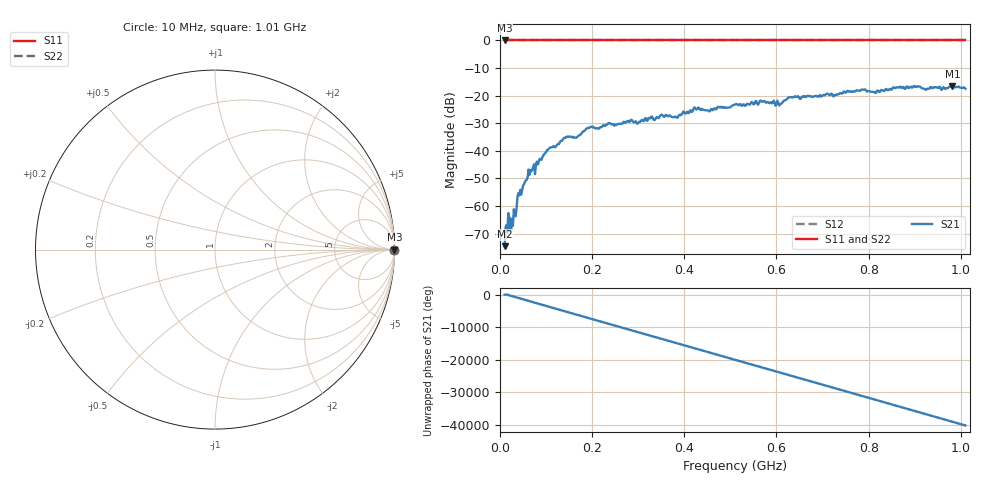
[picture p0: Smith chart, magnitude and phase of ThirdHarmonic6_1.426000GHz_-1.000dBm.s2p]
! 8/16/2025 4:25:29 PM
! C:\ANRITSUVNA\TEMP\TEMP.S2P
! CHANNEL.1
! TR.MEASUREMENT
! RAW.DATA
! RF.CORRECTION.OFF
! AVERAGING.OFF
! IF.BANDWIDTH: 5KHZ
! SWEEPTYPE:  FREQ.SWEEP(Linear)
! Reference Plane Port Info
! PORT:  PORT1  PORT2
! DISTANCE:  0  m  0  m
! TIME:  0  s  0  s
! PHASE.OFFSET:  0  deg.  0  deg.
! LOSS:  0  dB  0  dB
! REF.LOSS:  0  dB  0  dB
! REF.FREQ:  0  Hz  0  Hz
! Power Info
! POWER:  -20  dBm  -20  dBm
! EFF.POWER:  -20  dBm  -20  dBm
! SOURCE.ATTEN:  0  dB  0  dB
! TEST.ATTEN:  0  dB  0  dB
# GHZ S RI R 50.0
! FREQ.GHZ  S11RE  S11IM  S21RE  S21IM  S12RE  S12IM  S22RE  S22IM
!; PortSelection: Port_12
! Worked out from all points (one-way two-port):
!   501 points, 10 MHz to 1.01 GHz, reference 50 ohm
!   highest |S21| = -16.47 dB at 982 MHz (marker M1); lowest = -74.5 dB at 10 MHz (marker M2)
!   lowest |S11| = 0.0 dB at 10 MHz (marker M3)
!   |S11| at or under -10 dB: nowhere
!   |S22| runs from 0.0 to 0.0 dB; largest |S21 - S12| = 1.1
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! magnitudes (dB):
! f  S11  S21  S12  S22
! 10 MHz  0.0  -74.5  0.0  0.0
! 16 MHz  0.0  -69.6  0.0  0.0
! 24 MHz  0.0  -69.3  0.0  0.0
! 32 MHz  0.0  -62.6  0.0  0.0
! 42 MHz  0.0  -56.2  0.0  0.0
! 70 MHz  0.0  -46.9  0.0  0.0
! 106 MHz  0.0  -39.2  0.0  0.0
! 142 MHz  0.0  -35.3  0.0  0.0
! 178 MHz  0.0  -33.4  0.0  0.0
! 194 MHz  0.0  -31.7  0.0  0.0
! 344 MHz  0.0  -28.2  0.0  0.0
! 382 MHz  0.0  -27.6  0.0  0.0
! 426 MHz  0.0  -25.0  0.0  0.0
! 452 MHz  0.0  -25.4  0.0  0.0
! 510 MHz  0.0  -23.2  0.0  0.0
! 568 MHz  0.0  -22.2  0.0  0.0
! 608 MHz  0.0  -23.2  0.0  0.0
! 630 MHz  0.0  -20.6  0.0  0.0
! 678 MHz  0.0  -20.5  0.0  0.0
! 844 MHz  0.0  -17.8  0.0  0.0
! 982 MHz  0.0  -16.5  0.0  0.0
! 1.01 GHz  0.0  -17.5  0.0  0.0
